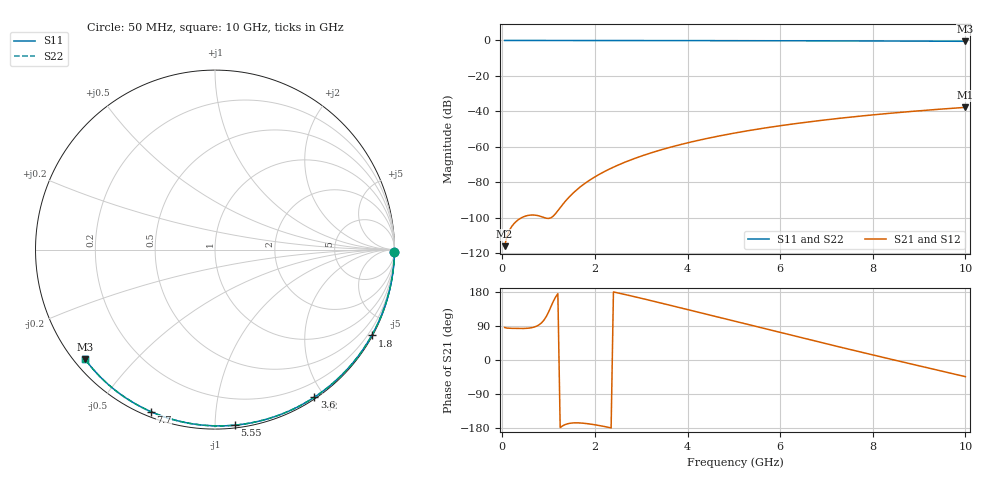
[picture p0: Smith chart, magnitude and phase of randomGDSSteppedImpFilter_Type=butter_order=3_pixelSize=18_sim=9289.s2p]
! freq	dB(S11)	phase(S11)	dB(S12)	phase(S12)
!  dB(S21)	phase(S21)	dB(S22)	phase(S22)
!S-par simulation data
#  GHz  S  DB  R 50
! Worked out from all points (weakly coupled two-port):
!   200 points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, 50 MHz to 10 GHz, reference 50 ohm
!   highest |S21| = -37.74 dB at 10 GHz (marker M1); lowest = -116.0 dB at 50 MHz (marker M2)
!   lowest |S11| = -0.5 dB at 10 GHz (marker M3), VSWR 36.66, Z = 1.54 - j18.2 ohm
!   |S11| at or under -10 dB: nowhere
!   |S22| runs from -0.5 to 0.0 dB; largest |S21 - S12| = 0
!   S11 on the Smith chart (normalised r, x): 50 MHz: open; 1.8 GHz: 0.03, -3.91; 3.6 GHz: 0.02, -1.88; 5.55 GHz: 0.02, -1.12; 7.7 GHz: 0.02, -0.68; 10 GHz: 0.03, -0.36
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0.05  -0.00 -0.8  -116.01 85.8  -116.01 85.8  -0.00 -0.8
0.45  -0.01 -7.3  -99.54 83.2  -99.54 83.2  -0.01 -7.3
0.9  -0.02 -14.5  -99.87 105.3  -99.87 105.3  -0.02 -14.5
1.75  -0.04 -27.9  -81.27 -166.8  -81.27 -166.8  -0.04 -27.9
1.8  -0.04 -28.7  -80.32 -167.5  -80.32 -167.5  -0.04 -28.7
1.85  -0.04 -29.5  -79.42 -168.2  -79.42 -168.2  -0.04 -29.5
2  -0.04 -31.8  -76.93 -170.9  -76.93 -170.9  -0.04 -31.8
2.15  -0.04 -34.1  -74.70 -174.2  -74.70 -174.2  -0.04 -34.1
2.35  -0.05 -37.2  -72.06 -179.2  -72.06 -179.2  -0.05 -37.2
2.55  -0.05 -40.3  -69.72 175.6  -69.72 175.6  -0.05 -40.3
2.95  -0.06 -46.4  -65.68 164.3  -65.68 164.3  -0.06 -46.4
3.4  -0.07 -53.1  -61.90 151.1  -61.90 151.1  -0.07 -53.1
3.6  -0.08 -56.1  -60.42 145.1  -60.42 145.1  -0.08 -56.0
4.3  -0.09 -66.2  -55.94 124.0  -55.94 124.0  -0.09 -66.2
5.05  -0.12 -76.8  -52.06 101.2  -52.06 101.2  -0.12 -76.8
5.55  -0.14 -83.6  -49.86 86.1  -49.86 86.1  -0.14 -83.6
6.1  -0.16 -91.0  -47.72 69.5  -47.72 69.5  -0.16 -91.0
6.7  -0.19 -98.8  -45.66 51.6  -45.66 51.6  -0.19 -98.8
7.7  -0.26 -111.6  -42.74 22.1  -42.74 22.1  -0.26 -111.6
8.35  -0.31 -119.7  -41.12 3.3  -41.12 3.3  -0.31 -119.7
9.2  -0.39 -130.2  -39.26 -21.1  -39.26 -21.1  -0.39 -130.2
10  -0.47 -140.0  -37.74 -43.9  -37.74 -43.9  -0.47 -140.0
